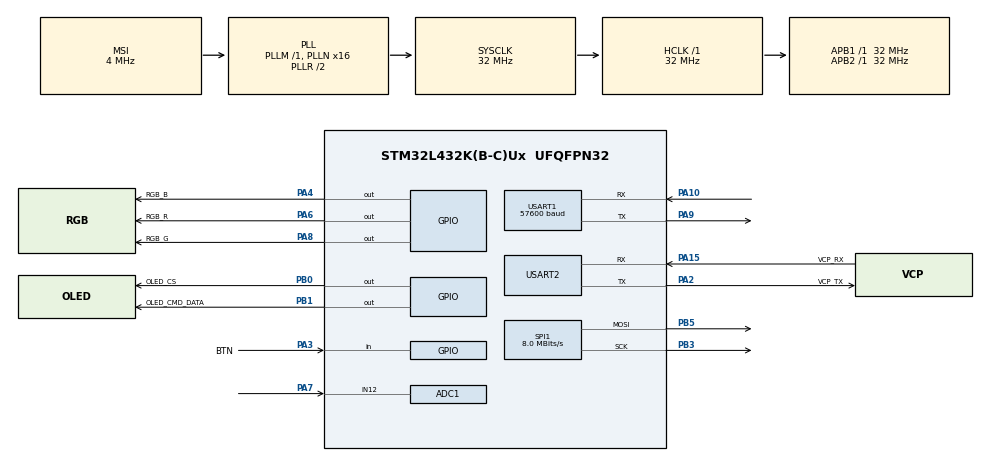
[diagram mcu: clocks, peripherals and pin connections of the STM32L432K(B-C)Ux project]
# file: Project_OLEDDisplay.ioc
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ADC1.Channel-0\#ChannelRegularConversion=ADC_CHANNEL_12
ADC1.NbrOfConversionFlag=1
ADC1.OffsetNumber-0\#ChannelRegularConversion=ADC_OFFSET_NONE
ADC1.Rank-0\#ChannelRegularConversion=1
ADC1.Resolution=ADC_RESOLUTION_8B
ADC1.SamplingTime-0\#ChannelRegularConversion=ADC_SAMPLETIME_2CYCLES_5
ADC1.master=1
FREERTOS.Tasks01=controllerTask,24,128,StartControllerTask,Default,NULL,Dynamic,NULL,NULL
FREERTOS.configTOTAL_HEAP_SIZE=8000
FREERTOS.configUSE_NEWLIB_REENTRANT=1
Mcu.Family=STM32L4
Mcu.Name=STM32L432K(B-C)Ux
Mcu.Package=UFQFPN32
NVIC.PriorityGroup=NVIC_PRIORITYGROUP_4
NVIC.TIM6_DAC_IRQn=true\:15\:0\:false\:false\:true\:false\:false\:true\:true
NVIC.TimeBase=TIM6_DAC_IRQn
NVIC.TimeBaseIP=TIM6
NVIC.USART1_IRQn=true\:5\:0\:false\:false\:true\:true\:true\:true\:true
PA0.GPIO_Label=MCO [High speed clock in]
PA0.Mode=HSE-External-Clock-Source-for-LittleOrca
PA0.Signal=RCC_CK_IN
PA10.Mode=Asynchronous
PA10.Signal=USART1_RX
PA13\ (JTMS-SWDIO).GPIO_Label=SWDIO
PA13\ (JTMS-SWDIO).Mode=Serial_Wire
PA13\ (JTMS-SWDIO).Signal=SYS_JTMS-SWDIO
PA14\ (JTCK-SWCLK).GPIO_Label=SWCLK
PA14\ (JTCK-SWCLK).Mode=Serial_Wire
PA14\ (JTCK-SWCLK).Signal=SYS_JTCK-SWCLK
PA15\ (JTDI).GPIO_Label=VCP_RX
PA15\ (JTDI).Mode=Asynchronous
PA15\ (JTDI).Signal=USART2_RX
PA2.GPIO_Label=VCP_TX
PA2.Mode=Asynchronous
PA2.Signal=USART2_TX
PA3.GPIO_Label=BTN
PA3.Signal=GPIO_Input
PA4.GPIO_Label=RGB_B
PA4.PinState=GPIO_PIN_SET
PA4.Signal=GPIO_Output
PA6.GPIO_Label=RGB_R
PA6.PinState=GPIO_PIN_SET
PA6.Signal=GPIO_Output
PA7.Signal=ADCx_IN12
PA8.GPIO_Label=RGB_G
PA8.PinState=GPIO_PIN_SET
PA8.Signal=GPIO_Output
PA9.Mode=Asynchronous
PA9.Signal=USART1_TX
PB0.GPIO_Label=OLED_CS
PB0.Signal=GPIO_Output
PB1.GPIO_Label=OLED_CMD_DATA
PB1.Signal=GPIO_Output
PB3\ (JTDO-TRACESWO).Mode=TX_Only_Simplex_Unidirect_Master
PB3\ (JTDO-TRACESWO).Signal=SPI1_SCK
PB4\ (NJTRST).Signal=SPI1_MISO
PB5.Mode=TX_Only_Simplex_Unidirect_Master
PB5.Signal=SPI1_MOSI
PC14-OSC32_IN\ (PC14).Mode=LSE-External-Oscillator
PC14-OSC32_IN\ (PC14).Signal=RCC_OSC32_IN
PC15-OSC32_OUT\ (PC15).Mode=LSE-External-Oscillator
PC15-OSC32_OUT\ (PC15).Signal=RCC_OSC32_OUT
ProjectManager.HeapSize=0x200
ProjectManager.StackSize=0x400
ProjectManager.TargetToolchain=STM32CubeIDE
RCC.ADCFreq_Value=32000000
RCC.AHBFreq_Value=32000000
RCC.APB1Freq_Value=32000000
RCC.APB1TimFreq_Value=32000000
RCC.APB2Freq_Value=32000000
RCC.APB2TimFreq_Value=32000000
RCC.CortexFreq_Value=32000000
RCC.HCLKFreq_Value=32000000
RCC.HSE_VALUE=8000000
RCC.HSI16_VALUE=16000000
RCC.HSI48_VALUE=48000000
RCC.HSI_VALUE=16000000
RCC.MSI_VALUE=4000000
RCC.PLLMUL=RCC_PLLMUL_4
RCC.PLLN=16
RCC.PLLSAI1N=16
RCC.SYSCLKFreq_VALUE=32000000
RCC.SYSCLKSource=RCC_SYSCLKSOURCE_PLLCLK
RCC.USBFreq_Value=32000000
RCC.VCOOutputFreq_Value=64000000
SH.ADCx_IN12.0=ADC1_IN12,IN12-Single-Ended
SPI1.BaudRatePrescaler=SPI_BAUDRATEPRESCALER_4
SPI1.CLKPhase=SPI_PHASE_2EDGE
SPI1.CLKPolarity=SPI_POLARITY_HIGH
SPI1.CalculateBaudRate=8.0 MBits/s
SPI1.DataSize=SPI_DATASIZE_8BIT
SPI1.Direction=SPI_DIRECTION_2LINES
SPI1.Mode=SPI_MODE_MASTER
SPI1.VirtualType=VM_MASTER
USART1.BaudRate=57600
USART1.VirtualMode-Asynchronous=VM_ASYNC
USART2.VirtualMode-Asynchronous=VM_ASYNC
VP_FREERTOS_VS_CMSIS_V2.Mode=CMSIS_V2
VP_SYS_VS_tim6.Mode=TIM6
board=NUCLEO-L432KC

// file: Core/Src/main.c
/* USER CODE BEGIN Header */
/**
  ******************************************************************************
  * @file           : main.c
  * @brief          : Main program body
  ******************************************************************************
  * @attention
  *
  * Copyright (c) 2024 STMicroelectronics.
  * All rights reserved.
  *
  * This software is licensed under terms that can be found in the LICENSE file
  * in the root directory of this software component.
  * If no LICENSE file comes with this software, it is provided AS-IS.
  *
  ******************************************************************************
  */
/* USER CODE END Header */
#include "main.h"
#include "cmsis_os.h"

/* USER CODE BEGIN Includes */
#include "stdio.h"
#include "io_driver.h"
#include "oled_lib.h"
#include "adc_driver.h"
#include "math.h"
#include "uart.h"
#include "tasks.h"

/* USER CODE END Includes */

ADC_HandleTypeDef hadc1;

SPI_HandleTypeDef hspi1;

UART_HandleTypeDef huart1;
UART_HandleTypeDef huart2;

/* Definitions for controllerTask */
osThreadId_t controllerTaskHandle;
const osThreadAttr_t controllerTask_attributes = {
  .name = "controllerTask",
  .stack_size = 128 * 4,
  .priority = (osPriority_t) osPriorityNormal,
};

void SystemClock_Config(void);
static void MX_GPIO_Init(void);
static void MX_USART2_UART_Init(void);
static void MX_SPI1_Init(void);
static void MX_ADC1_Init(void);
static void MX_USART1_UART_Init(void);
void StartControllerTask(void *argument);

int main(void)
{

  /* MCU Configuration--------------------------------------------------------*/

  /* Reset of all peripherals, Initializes the Flash interface and the Systick. */
  HAL_Init();

  /* Configure the system clock */
  SystemClock_Config();

  /* Initialize all configured peripherals */
  MX_GPIO_Init();
  MX_USART2_UART_Init();
  MX_SPI1_Init();
  MX_ADC1_Init();
  MX_USART1_UART_Init();
  /* USER CODE BEGIN 2 */
  	oled_Init(&hspi1);

    adc_Init(&hadc1);

    adc_configure(12); //Default mode -> READ_POTI

  /* USER CODE END 2 */

  /* Init scheduler */
  osKernelInitialize();

  /* Create the thread(s) */
  /* creation of controllerTask */
  controllerTaskHandle = osThreadNew(StartControllerTask, NULL, &controllerTask_attributes);

  /* USER CODE BEGIN RTOS_THREADS */
  if(osThreadGetState(controllerTaskHandle)==osThreadError)
  	  Error_Handler();

  if(init_uart()==UART_ERROR)
	  Error_Handler();

  if(init_Tasks()==TASKS_ERROR)
	  Error_Handler();

  /* add threads, ... */
  /* USER CODE END RTOS_THREADS */

  /* Start scheduler */
  osKernelStart();

  /* We should never get here as control is now taken by the scheduler */
  /* Infinite loop */
  while (1)
  {

  }
}

void SystemClock_Config(void)
{
  RCC_OscInitTypeDef RCC_OscInitStruct = {0};
  RCC_ClkInitTypeDef RCC_ClkInitStruct = {0};

  /** Configure the main internal regulator output voltage
  */
  if (HAL_PWREx_ControlVoltageScaling(PWR_REGULATOR_VOLTAGE_SCALE1) != HAL_OK)
  {
    Error_Handler();
  }

  /** Configure LSE Drive Capability
  */
  HAL_PWR_EnableBkUpAccess();
  __HAL_RCC_LSEDRIVE_CONFIG(RCC_LSEDRIVE_LOW);

  /** Initializes the RCC Oscillators according to the specified parameters
  * in the RCC_OscInitTypeDef structure.
  */
  RCC_OscInitStruct.OscillatorType = RCC_OSCILLATORTYPE_LSE|RCC_OSCILLATORTYPE_MSI;
  RCC_OscInitStruct.LSEState = RCC_LSE_ON;
  RCC_OscInitStruct.MSIState = RCC_MSI_ON;
  RCC_OscInitStruct.MSICalibrationValue = 0;
  RCC_OscInitStruct.MSIClockRange = RCC_MSIRANGE_6;
  RCC_OscInitStruct.PLL.PLLState = RCC_PLL_ON;
  RCC_OscInitStruct.PLL.PLLSource = RCC_PLLSOURCE_MSI;
  RCC_OscInitStruct.PLL.PLLM = 1;
  RCC_OscInitStruct.PLL.PLLN = 16;
  RCC_OscInitStruct.PLL.PLLP = RCC_PLLP_DIV7;
  RCC_OscInitStruct.PLL.PLLQ = RCC_PLLQ_DIV2;
  RCC_OscInitStruct.PLL.PLLR = RCC_PLLR_DIV2;
  if (HAL_RCC_OscConfig(&RCC_OscInitStruct) != HAL_OK)
  {
    Error_Handler();
  }

  /** Initializes the CPU, AHB and APB buses clocks
  */
  RCC_ClkInitStruct.ClockType = RCC_CLOCKTYPE_HCLK|RCC_CLOCKTYPE_SYSCLK
                              |RCC_CLOCKTYPE_PCLK1|RCC_CLOCKTYPE_PCLK2;
  RCC_ClkInitStruct.SYSCLKSource = RCC_SYSCLKSOURCE_PLLCLK;
  RCC_ClkInitStruct.AHBCLKDivider = RCC_SYSCLK_DIV1;
  RCC_ClkInitStruct.APB1CLKDivider = RCC_HCLK_DIV1;
  RCC_ClkInitStruct.APB2CLKDivider = RCC_HCLK_DIV1;

  if (HAL_RCC_ClockConfig(&RCC_ClkInitStruct, FLASH_LATENCY_1) != HAL_OK)
  {
    Error_Handler();
  }

  /** Enable MSI Auto calibration
  */
  HAL_RCCEx_EnableMSIPLLMode();
}

static void MX_ADC1_Init(void)
{

  ADC_ChannelConfTypeDef sConfig = {0};

  /** Common config
  */
  hadc1.Instance = ADC1;
  hadc1.Init.ClockPrescaler = ADC_CLOCK_ASYNC_DIV1;
  hadc1.Init.Resolution = ADC_RESOLUTION_8B;
  hadc1.Init.DataAlign = ADC_DATAALIGN_RIGHT;
  hadc1.Init.ScanConvMode = ADC_SCAN_DISABLE;
  hadc1.Init.EOCSelection = ADC_EOC_SINGLE_CONV;
  hadc1.Init.LowPowerAutoWait = DISABLE;
  hadc1.Init.ContinuousConvMode = DISABLE;
  hadc1.Init.NbrOfConversion = 1;
  hadc1.Init.DiscontinuousConvMode = DISABLE;
  hadc1.Init.ExternalTrigConv = ADC_SOFTWARE_START;
  hadc1.Init.ExternalTrigConvEdge = ADC_EXTERNALTRIGCONVEDGE_NONE;
  hadc1.Init.DMAContinuousRequests = DISABLE;
  hadc1.Init.Overrun = ADC_OVR_DATA_PRESERVED;
  hadc1.Init.OversamplingMode = DISABLE;
  if (HAL_ADC_Init(&hadc1) != HAL_OK)
  {
    Error_Handler();
  }

  /** Configure Regular Channel
  */
  sConfig.Channel = ADC_CHANNEL_12;
  sConfig.Rank = ADC_REGULAR_RANK_1;
  sConfig.SamplingTime = ADC_SAMPLETIME_2CYCLES_5;
  sConfig.SingleDiff = ADC_SINGLE_ENDED;
  sConfig.OffsetNumber = ADC_OFFSET_NONE;
  sConfig.Offset = 0;
  if (HAL_ADC_ConfigChannel(&hadc1, &sConfig) != HAL_OK)
  {
    Error_Handler();
  }

}

static void MX_SPI1_Init(void)
{

  /* SPI1 parameter configuration*/
  hspi1.Instance = SPI1;
  hspi1.Init.Mode = SPI_MODE_MASTER;
  hspi1.Init.Direction = SPI_DIRECTION_2LINES;
  hspi1.Init.DataSize = SPI_DATASIZE_8BIT;
  hspi1.Init.CLKPolarity = SPI_POLARITY_HIGH;
  hspi1.Init.CLKPhase = SPI_PHASE_2EDGE;
  hspi1.Init.NSS = SPI_NSS_SOFT;
  hspi1.Init.BaudRatePrescaler = SPI_BAUDRATEPRESCALER_4;
  hspi1.Init.FirstBit = SPI_FIRSTBIT_MSB;
  hspi1.Init.TIMode = SPI_TIMODE_DISABLE;
  hspi1.Init.CRCCalculation = SPI_CRCCALCULATION_DISABLE;
  hspi1.Init.CRCPolynomial = 7;
  hspi1.Init.CRCLength = SPI_CRC_LENGTH_DATASIZE;
  hspi1.Init.NSSPMode = SPI_NSS_PULSE_DISABLE;
  if (HAL_SPI_Init(&hspi1) != HAL_OK)
  {
    Error_Handler();
  }

}

static void MX_USART1_UART_Init(void)
{

  huart1.Instance = USART1;
  huart1.Init.BaudRate = 57600;
  huart1.Init.WordLength = UART_WORDLENGTH_8B;
  huart1.Init.StopBits = UART_STOPBITS_1;
  huart1.Init.Parity = UART_PARITY_NONE;
  huart1.Init.Mode = UART_MODE_TX_RX;
  huart1.Init.HwFlowCtl = UART_HWCONTROL_NONE;
  huart1.Init.OverSampling = UART_OVERSAMPLING_16;
  huart1.Init.OneBitSampling = UART_ONE_BIT_SAMPLE_DISABLE;
  huart1.AdvancedInit.AdvFeatureInit = UART_ADVFEATURE_NO_INIT;
  if (HAL_UART_Init(&huart1) != HAL_OK)
  {
    Error_Handler();
  }

}

static void MX_USART2_UART_Init(void)
{

  huart2.Instance = USART2;
  huart2.Init.BaudRate = 115200;
  huart2.Init.WordLength = UART_WORDLENGTH_8B;
  huart2.Init.StopBits = UART_STOPBITS_1;
  huart2.Init.Parity = UART_PARITY_NONE;
  huart2.Init.Mode = UART_MODE_TX_RX;
  huart2.Init.HwFlowCtl = UART_HWCONTROL_NONE;
  huart2.Init.OverSampling = UART_OVERSAMPLING_16;
  huart2.Init.OneBitSampling = UART_ONE_BIT_SAMPLE_DISABLE;
  huart2.AdvancedInit.AdvFeatureInit = UART_ADVFEATURE_NO_INIT;
  if (HAL_UART_Init(&huart2) != HAL_OK)
  {
    Error_Handler();
  }

}

static void MX_GPIO_Init(void)
{
  GPIO_InitTypeDef GPIO_InitStruct = {0};

  /* GPIO Ports Clock Enable */
  __HAL_RCC_GPIOC_CLK_ENABLE();
  __HAL_RCC_GPIOA_CLK_ENABLE();
  __HAL_RCC_GPIOB_CLK_ENABLE();

  /*Configure GPIO pin Output Level */
  HAL_GPIO_WritePin(GPIOA, RGB_B_Pin|RGB_R_Pin|RGB_G_Pin, GPIO_PIN_SET);

  /*Configure GPIO pin Output Level */
  HAL_GPIO_WritePin(GPIOB, OLED_CS_Pin|OLED_CMD_DATA_Pin, GPIO_PIN_RESET);

  /*Configure GPIO pin : BTN_Pin */
  GPIO_InitStruct.Pin = BTN_Pin;
  GPIO_InitStruct.Mode = GPIO_MODE_INPUT;
  GPIO_InitStruct.Pull = GPIO_NOPULL;
  HAL_GPIO_Init(BTN_GPIO_Port, &GPIO_InitStruct);

  /*Configure GPIO pins : RGB_B_Pin RGB_R_Pin RGB_G_Pin */
  GPIO_InitStruct.Pin = RGB_B_Pin|RGB_R_Pin|RGB_G_Pin;
  GPIO_InitStruct.Mode = GPIO_MODE_OUTPUT_PP;
  GPIO_InitStruct.Pull = GPIO_NOPULL;
  GPIO_InitStruct.Speed = GPIO_SPEED_FREQ_LOW;
  HAL_GPIO_Init(GPIOA, &GPIO_InitStruct);

  /*Configure GPIO pins : OLED_CS_Pin OLED_CMD_DATA_Pin */
  GPIO_InitStruct.Pin = OLED_CS_Pin|OLED_CMD_DATA_Pin;
  GPIO_InitStruct.Mode = GPIO_MODE_OUTPUT_PP;
  GPIO_InitStruct.Pull = GPIO_NOPULL;
  GPIO_InitStruct.Speed = GPIO_SPEED_FREQ_LOW;
  HAL_GPIO_Init(GPIOB, &GPIO_InitStruct);

}

/* USER CODE BEGIN Header_StartControllerTask */
/**
  * @brief  Controller Task Handles All Requests from other Tasks
  * @param  argument: Not used
  * @retval None
  */
/* USER CODE END Header_StartControllerTask */
void StartControllerTask(void *argument)
{
  /* USER CODE BEGIN 5 */

	    RGB_t CurrentColors;
	    CurrentColors.red = 0;
	    CurrentColors.green = 0;
	    CurrentColors.blue = 0;

	    struct MEASUREMENT_S CurrentValues;
	    CurrentValues.red = 0;
	    CurrentValues.green = 0;
	    CurrentValues.blue = 0;
	    CurrentValues.clear = 0;
	    CurrentValues.infrared = 0;

	    uint32_t measure_flags;
  /* Infinite loop */
  for(;;)
  {
	  measure_flags = osEventFlagsWait(colorUpdateEventHandle,ALL_THREE,osFlagsNoClear,osWaitForever);
	  if(measure_flags == MEASUREMENT_NEEDED)
	  {
		  osEventFlagsClear(colorUpdateEventHandle, MEASUREMENT_NEEDED);
		  printf("MEA:\r\n");
	  }
	  else if(measure_flags == NEW_COLOR)
	  {
		  osEventFlagsClear(colorUpdateEventHandle, NEW_COLOR);
		  if(osMessageQueueGet(ColorUpdateQueueHandle, &CurrentColors, 0, 0)==osOK)
		  {
			  printf("COL:%u,%u,%u\r\n",CurrentColors.red,CurrentColors.green,CurrentColors.blue);
		  }
	  }
	  else if(measure_flags == MEASUREMENT_DONE)
	  {
		  osEventFlagsClear(colorUpdateEventHandle, MEASUREMENT_DONE);
		  if(osMessageQueueGet(UartUpdateQueueHandle, &CurrentValues, 0, 0)==osOK)
		  {
			 osMessageQueuePut(MeasurementQueueHandle, &CurrentValues,0,0);
		  }
	  }
  }
  /* USER CODE END 5 */
}

void HAL_TIM_PeriodElapsedCallback(TIM_HandleTypeDef *htim)
{
  if (htim->Instance == TIM6) {
    HAL_IncTick();
  }
}

void Error_Handler(void)
{
  /* USER CODE BEGIN Error_Handler_Debug */

	oled_blankScreen();
	char buffer_error[30];
	snprintf( buffer_error, 30, "Error!" );
	oled_writeText( &buffer_error[0], 4, 4 );

  __disable_irq();
  while (1)
  {
  }
  /* USER CODE END Error_Handler_Debug */
}
